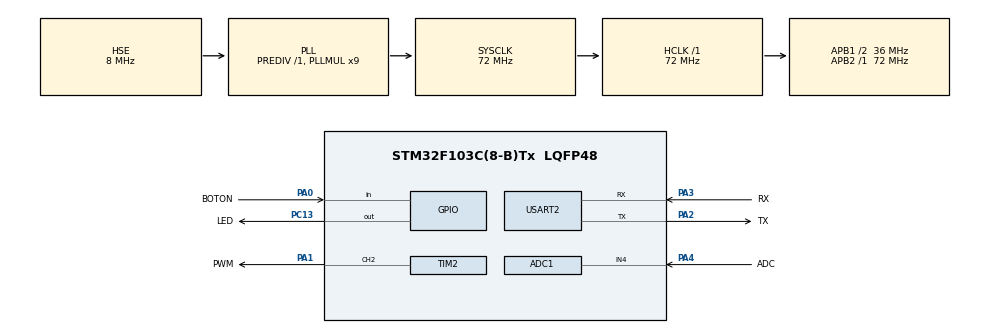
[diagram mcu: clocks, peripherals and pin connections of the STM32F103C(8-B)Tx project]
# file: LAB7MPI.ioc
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ADC1.Channel-0\#ChannelRegularConversion=ADC_CHANNEL_4
ADC1.NbrOfConversionFlag=1
ADC1.Rank-0\#ChannelRegularConversion=1
ADC1.SamplingTime-0\#ChannelRegularConversion=ADC_SAMPLETIME_1CYCLE_5
ADC1.master=1
Mcu.Family=STM32F1
Mcu.Name=STM32F103C(8-B)Tx
Mcu.Package=LQFP48
NVIC.PriorityGroup=NVIC_PRIORITYGROUP_4
NVIC.USART2_IRQn=true\:0\:0\:false\:false\:true\:true\:true\:true
PA0-WKUP.GPIO_Label=BOTON
PA0-WKUP.Signal=GPIO_Input
PA1.GPIO_Label=PWM
PA1.Signal=S_TIM2_CH2
PA2.GPIO_Label=TX
PA2.Mode=Asynchronous
PA2.Signal=USART2_TX
PA3.GPIO_Label=RX
PA3.Mode=Asynchronous
PA3.Signal=USART2_RX
PA4.GPIO_Label=ADC
PA4.Signal=ADCx_IN4
PC13-TAMPER-RTC.GPIO_Label=LED
PC13-TAMPER-RTC.Signal=GPIO_Output
PD0-OSC_IN.Mode=HSE-External-Oscillator
PD0-OSC_IN.Signal=RCC_OSC_IN
PD1-OSC_OUT.Mode=HSE-External-Oscillator
PD1-OSC_OUT.Signal=RCC_OSC_OUT
ProjectManager.HeapSize=0x200
ProjectManager.StackSize=0x400
ProjectManager.TargetToolchain=STM32CubeIDE
RCC.ADCPresc=RCC_ADCPCLK2_DIV6
RCC.AHBFreq_Value=72000000
RCC.APB1CLKDivider=RCC_HCLK_DIV2
RCC.APB1Freq_Value=36000000
RCC.APB1TimFreq_Value=72000000
RCC.APB2Freq_Value=72000000
RCC.APB2TimFreq_Value=72000000
RCC.HCLKFreq_Value=72000000
RCC.PLLMUL=RCC_PLL_MUL9
RCC.PLLSourceVirtual=RCC_PLLSOURCE_HSE
RCC.SYSCLKFreq_VALUE=72000000
RCC.SYSCLKSource=RCC_SYSCLKSOURCE_PLLCLK
RCC.USBFreq_Value=72000000
SH.ADCx_IN4.0=ADC1_IN4,IN4
SH.S_TIM2_CH2.0=TIM2_CH2,PWM Generation2 CH2
TIM2.Channel-PWM\ Generation2\ CH2=TIM_CHANNEL_2
TIM2.Prescaler=7199
USART2.VirtualMode=VM_ASYNC
VP_SYS_VS_ND.Mode=No_Debug
board=custom

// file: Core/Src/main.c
/* USER CODE BEGIN Header */
/**
  ******************************************************************************
  * @file           : main.c
  * @brief          : Main program body
  ******************************************************************************
  * @attention
  *
  * Copyright (c) 2026 STMicroelectronics.
  * All rights reserved.
  *
  * This software is licensed under terms that can be found in the LICENSE file
  * in the root directory of this software component.
  * If no LICENSE file comes with this software, it is provided AS-IS.
  *
  ******************************************************************************
  */
/* USER CODE END Header */
#include "main.h"

/* USER CODE BEGIN Includes */
#include <string.h>
#include <stdio.h>
#include <stdlib.h>
#include <ctype.h>
/* USER CODE END Includes */

/* USER CODE BEGIN PTD */
typedef enum
{
    MODE_AUTONOMOUS = 0,
    MODE_DEBUG
} SystemMode_t;
/* USER CODE END PTD */

/* USER CODE BEGIN PD */
#define CMD_BUFFER_SIZE     64
#define UART_RX_SIZE        1
#define LOG_PERIOD_MS       1000
#define DEBOUNCE_TIME_MS    50
/* USER CODE END PD */

ADC_HandleTypeDef hadc1;

TIM_HandleTypeDef htim2;

UART_HandleTypeDef huart2;

/* USER CODE BEGIN PV */
volatile uint8_t uartRxData[UART_RX_SIZE];
volatile uint8_t cmdReady = 0;

char cmdBuffer[CMD_BUFFER_SIZE];
uint8_t cmdIndex = 0;

SystemMode_t currentMode = MODE_AUTONOMOUS;

uint8_t logEnabled = 0;
uint32_t lastLogTick = 0;

GPIO_PinState lastButtonReading = GPIO_PIN_SET;
GPIO_PinState stableButtonState = GPIO_PIN_SET;
uint32_t lastDebounceTime = 0;
/* USER CODE END PV */

void SystemClock_Config(void);
static void MX_GPIO_Init(void);
static void MX_ADC1_Init(void);
static void MX_TIM2_Init(void);
static void MX_USART2_UART_Init(void);
/* USER CODE BEGIN PFP */
void UART_SendString(const char *str);
void UART_SendPrompt(void);
void UART_StartReception(void);
void ProcessCommand(char *cmd);
void NormalizeCommand(char *cmd);
void CheckModeButton(void);
void EnterAutonomousMode(void);
void EnterDebugMode(void);
void AutonomousTask(void);
uint32_t ReadADCValue(void);
void SendSensorData(void);
void SetPWMDuty(uint8_t duty);
/* USER CODE END PFP */

int main(void)
{

  /* MCU Configuration--------------------------------------------------------*/

  /* Reset of all peripherals, Initializes the Flash interface and the Systick. */
  HAL_Init();

  /* Configure the system clock */
  SystemClock_Config();

  /* Initialize all configured peripherals */
  MX_GPIO_Init();
  MX_ADC1_Init();
  MX_TIM2_Init();
  MX_USART2_UART_Init();
  /* USER CODE BEGIN 2 */

  HAL_TIM_PWM_Start(&htim2, TIM_CHANNEL_1);
  SetPWMDuty(0);

  UART_SendString("System Ready\r\n");
  UART_SendString("Mode: AUTONOMOUS\r\n");

  UART_StartReception();

  /* USER CODE END 2 */

  /* Infinite loop */
  /* USER CODE BEGIN WHILE */
  while (1)
  {
    CheckModeButton();

    if (currentMode == MODE_AUTONOMOUS)
    {
        AutonomousTask();
    }
    else
    {
        if (cmdReady)
        {
            NormalizeCommand(cmdBuffer);
            ProcessCommand(cmdBuffer);
            cmdReady = 0;
            UART_SendPrompt();
        }

        if (logEnabled && (HAL_GetTick() - lastLogTick >= LOG_PERIOD_MS))
        {
            SendSensorData();
            lastLogTick = HAL_GetTick();
        }
    }
    /* USER CODE END WHILE */

  }
}

void SystemClock_Config(void)
{
  RCC_OscInitTypeDef RCC_OscInitStruct = {0};
  RCC_ClkInitTypeDef RCC_ClkInitStruct = {0};
  RCC_PeriphCLKInitTypeDef PeriphClkInit = {0};

  /** Initializes the RCC Oscillators according to the specified parameters
  * in the RCC_OscInitTypeDef structure.
  */
  RCC_OscInitStruct.OscillatorType = RCC_OSCILLATORTYPE_HSE;
  RCC_OscInitStruct.HSEState = RCC_HSE_ON;
  RCC_OscInitStruct.HSEPredivValue = RCC_HSE_PREDIV_DIV1;
  RCC_OscInitStruct.HSIState = RCC_HSI_ON;
  RCC_OscInitStruct.PLL.PLLState = RCC_PLL_ON;
  RCC_OscInitStruct.PLL.PLLSource = RCC_PLLSOURCE_HSE;
  RCC_OscInitStruct.PLL.PLLMUL = RCC_PLL_MUL9;
  if (HAL_RCC_OscConfig(&RCC_OscInitStruct) != HAL_OK)
  {
    Error_Handler();
  }

  /** Initializes the CPU, AHB and APB buses clocks
  */
  RCC_ClkInitStruct.ClockType = RCC_CLOCKTYPE_HCLK|RCC_CLOCKTYPE_SYSCLK
                              |RCC_CLOCKTYPE_PCLK1|RCC_CLOCKTYPE_PCLK2;
  RCC_ClkInitStruct.SYSCLKSource = RCC_SYSCLKSOURCE_PLLCLK;
  RCC_ClkInitStruct.AHBCLKDivider = RCC_SYSCLK_DIV1;
  RCC_ClkInitStruct.APB1CLKDivider = RCC_HCLK_DIV2;
  RCC_ClkInitStruct.APB2CLKDivider = RCC_HCLK_DIV1;

  if (HAL_RCC_ClockConfig(&RCC_ClkInitStruct, FLASH_LATENCY_2) != HAL_OK)
  {
    Error_Handler();
  }
  PeriphClkInit.PeriphClockSelection = RCC_PERIPHCLK_ADC;
  PeriphClkInit.AdcClockSelection = RCC_ADCPCLK2_DIV6;
  if (HAL_RCCEx_PeriphCLKConfig(&PeriphClkInit) != HAL_OK)
  {
    Error_Handler();
  }
}

static void MX_ADC1_Init(void)
{

  ADC_ChannelConfTypeDef sConfig = {0};

  /** Common config
  */
  hadc1.Instance = ADC1;
  hadc1.Init.ScanConvMode = ADC_SCAN_DISABLE;
  hadc1.Init.ContinuousConvMode = DISABLE;
  hadc1.Init.DiscontinuousConvMode = DISABLE;
  hadc1.Init.ExternalTrigConv = ADC_SOFTWARE_START;
  hadc1.Init.DataAlign = ADC_DATAALIGN_RIGHT;
  hadc1.Init.NbrOfConversion = 1;
  if (HAL_ADC_Init(&hadc1) != HAL_OK)
  {
    Error_Handler();
  }

  /** Configure Regular Channel
  */
  sConfig.Channel = ADC_CHANNEL_4;
  sConfig.Rank = ADC_REGULAR_RANK_1;
  sConfig.SamplingTime = ADC_SAMPLETIME_1CYCLE_5;
  if (HAL_ADC_ConfigChannel(&hadc1, &sConfig) != HAL_OK)
  {
    Error_Handler();
  }

}

static void MX_TIM2_Init(void)
{

  TIM_MasterConfigTypeDef sMasterConfig = {0};
  TIM_OC_InitTypeDef sConfigOC = {0};

  htim2.Instance = TIM2;
  htim2.Init.Prescaler = 7199;
  htim2.Init.CounterMode = TIM_COUNTERMODE_UP;
  htim2.Init.Period = 65535;
  htim2.Init.ClockDivision = TIM_CLOCKDIVISION_DIV1;
  htim2.Init.AutoReloadPreload = TIM_AUTORELOAD_PRELOAD_DISABLE;
  if (HAL_TIM_PWM_Init(&htim2) != HAL_OK)
  {
    Error_Handler();
  }
  sMasterConfig.MasterOutputTrigger = TIM_TRGO_RESET;
  sMasterConfig.MasterSlaveMode = TIM_MASTERSLAVEMODE_DISABLE;
  if (HAL_TIMEx_MasterConfigSynchronization(&htim2, &sMasterConfig) != HAL_OK)
  {
    Error_Handler();
  }
  sConfigOC.OCMode = TIM_OCMODE_PWM1;
  sConfigOC.Pulse = 0;
  sConfigOC.OCPolarity = TIM_OCPOLARITY_HIGH;
  sConfigOC.OCFastMode = TIM_OCFAST_DISABLE;
  if (HAL_TIM_PWM_ConfigChannel(&htim2, &sConfigOC, TIM_CHANNEL_2) != HAL_OK)
  {
    Error_Handler();
  }
  HAL_TIM_MspPostInit(&htim2);

}

static void MX_USART2_UART_Init(void)
{

  huart2.Instance = USART2;
  huart2.Init.BaudRate = 115200;
  huart2.Init.WordLength = UART_WORDLENGTH_8B;
  huart2.Init.StopBits = UART_STOPBITS_1;
  huart2.Init.Parity = UART_PARITY_NONE;
  huart2.Init.Mode = UART_MODE_TX_RX;
  huart2.Init.HwFlowCtl = UART_HWCONTROL_NONE;
  huart2.Init.OverSampling = UART_OVERSAMPLING_16;
  if (HAL_UART_Init(&huart2) != HAL_OK)
  {
    Error_Handler();
  }

}

static void MX_GPIO_Init(void)
{
  GPIO_InitTypeDef GPIO_InitStruct = {0};

  /* GPIO Ports Clock Enable */
  __HAL_RCC_GPIOC_CLK_ENABLE();
  __HAL_RCC_GPIOD_CLK_ENABLE();
  __HAL_RCC_GPIOA_CLK_ENABLE();

  /*Configure GPIO pin Output Level */
  HAL_GPIO_WritePin(LED_GPIO_Port, LED_Pin, GPIO_PIN_RESET);

  /*Configure GPIO pin : LED_Pin */
  GPIO_InitStruct.Pin = LED_Pin;
  GPIO_InitStruct.Mode = GPIO_MODE_OUTPUT_PP;
  GPIO_InitStruct.Pull = GPIO_NOPULL;
  GPIO_InitStruct.Speed = GPIO_SPEED_FREQ_LOW;
  HAL_GPIO_Init(LED_GPIO_Port, &GPIO_InitStruct);

  /*Configure GPIO pin : BOTON_Pin */
  GPIO_InitStruct.Pin = BOTON_Pin;
  GPIO_InitStruct.Mode = GPIO_MODE_INPUT;
  GPIO_InitStruct.Pull = GPIO_NOPULL;
  HAL_GPIO_Init(BOTON_GPIO_Port, &GPIO_InitStruct);

}

/* USER CODE BEGIN 4 */

void UART_StartReception(void)
{
    HAL_UART_Receive_IT(&huart2, (uint8_t *)uartRxData, UART_RX_SIZE);
}

void UART_SendString(const char *str)
{
    HAL_UART_Transmit(&huart2, (uint8_t *)str, strlen(str), HAL_MAX_DELAY);
}

void UART_SendPrompt(void)
{
    UART_SendString("> ");
}

void NormalizeCommand(char *cmd)
{
    uint16_t i = 0;
    while (cmd[i] != '\0')
    {
        cmd[i] = toupper((unsigned char)cmd[i]);
        i++;
    }
}

void EnterAutonomousMode(void)
{
    currentMode = MODE_AUTONOMOUS;
    logEnabled = 0;
    UART_SendString("\r\nMode: AUTONOMOUS\r\n");
}

void EnterDebugMode(void)
{
    currentMode = MODE_DEBUG;
    UART_SendString("\r\nMode: DEBUG\r\n");
    UART_SendString("Available commands:\r\n");
    UART_SendString("READ\r\n");
    UART_SendString("LED ON\r\n");
    UART_SendString("LED OFF\r\n");
    UART_SendString("PWM X\r\n");
    UART_SendString("LOG ON\r\n");
    UART_SendString("LOG OFF\r\n");
    UART_SendPrompt();
}

void CheckModeButton(void)
{
    GPIO_PinState reading = HAL_GPIO_ReadPin(BOTON_GPIO_Port, BOTON_Pin);

    if (reading != lastButtonReading)
    {
        lastDebounceTime = HAL_GetTick();
    }

    if ((HAL_GetTick() - lastDebounceTime) > DEBOUNCE_TIME_MS)
    {
        if (reading != stableButtonState)
        {
            stableButtonState = reading;

            if (stableButtonState == GPIO_PIN_RESET)
            {
                if (currentMode == MODE_AUTONOMOUS)
                {
                    EnterDebugMode();
                }
                else
                {
                    EnterAutonomousMode();
                }
            }
        }
    }

    lastButtonReading = reading;
}

void AutonomousTask(void)
{
    static uint32_t lastBlink = 0;

    if (HAL_GetTick() - lastBlink >= 500)
    {
        HAL_GPIO_TogglePin(LED_GPIO_Port, LED_Pin);
        lastBlink = HAL_GetTick();
    }
}

uint32_t ReadADCValue(void)
{
    uint32_t value = 0;

    HAL_ADC_Start(&hadc1);
    if (HAL_ADC_PollForConversion(&hadc1, HAL_MAX_DELAY) == HAL_OK)
    {
        value = HAL_ADC_GetValue(&hadc1);
    }
    HAL_ADC_Stop(&hadc1);

    return value;
}

void SendSensorData(void)
{
    char msg[100];
    uint32_t adcValue = ReadADCValue();

    float temperature = 24.3f;
    float light = (adcValue * 100.0f) / 4095.0f;
    float potentiometer = (adcValue * 100.0f) / 4095.0f;

    snprintf(msg, sizeof(msg), "T:%.1f L:%.0f P:%.0f\r\n", temperature, light, potentiometer);
    UART_SendString(msg);
}

void SetPWMDuty(uint8_t duty)
{
    uint32_t arr = __HAL_TIM_GET_AUTORELOAD(&htim2);
    uint32_t compare = ((arr + 1) * duty) / 100;
    __HAL_TIM_SET_COMPARE(&htim2, TIM_CHANNEL_1, compare);
}

void ProcessCommand(char *cmd)
{
    if (strcmp(cmd, "READ") == 0)
    {
        SendSensorData();
    }
    else if (strcmp(cmd, "LED ON") == 0)
    {
        HAL_GPIO_WritePin(LED_GPIO_Port, LED_Pin, GPIO_PIN_SET);
        UART_SendString("OK\r\n");
    }
    else if (strcmp(cmd, "LED OFF") == 0)
    {
        HAL_GPIO_WritePin(LED_GPIO_Port, LED_Pin, GPIO_PIN_RESET);
        UART_SendString("OK\r\n");
    }
    else if (strncmp(cmd, "PWM ", 4) == 0)
    {
        int duty = atoi(&cmd[4]);

        if (duty >= 0 && duty <= 100)
        {
            SetPWMDuty((uint8_t)duty);
            UART_SendString("OK\r\n");
        }
        else
        {
            UART_SendString("ERROR: PWM range 0-100\r\n");
        }
    }
    else if (strcmp(cmd, "LOG ON") == 0)
    {
        logEnabled = 1;
        UART_SendString("OK\r\n");
    }
    else if (strcmp(cmd, "LOG OFF") == 0)
    {
        logEnabled = 0;
        UART_SendString("OK\r\n");
    }
    else
    {
        UART_SendString("ERROR: Unknown command\r\n");
    }
}

void HAL_UART_RxCpltCallback(UART_HandleTypeDef *huart)
{
    uint8_t rx = uartRxData[0];

    if (huart->Instance == USART2)
    {
        HAL_UART_Transmit(&huart2, &rx, 1, HAL_MAX_DELAY);

        if (rx == '\r' || rx == '\n')
        {
            if (cmdIndex > 0)
            {
                cmdBuffer[cmdIndex] = '\0';
                cmdReady = 1;
                cmdIndex = 0;
                UART_SendString("\r\n");
            }
        }
        else
        {
            if (cmdIndex < (CMD_BUFFER_SIZE - 1))
            {
                cmdBuffer[cmdIndex++] = rx;
            }
            else
            {
                cmdIndex = 0;
                UART_SendString("\r\nERROR: Buffer overflow\r\n");
                UART_SendPrompt();
            }
        }

        UART_StartReception();
    }
}

/* USER CODE END 4 */

void Error_Handler(void)
{
  __disable_irq();
  while (1)
  {
  }
}
